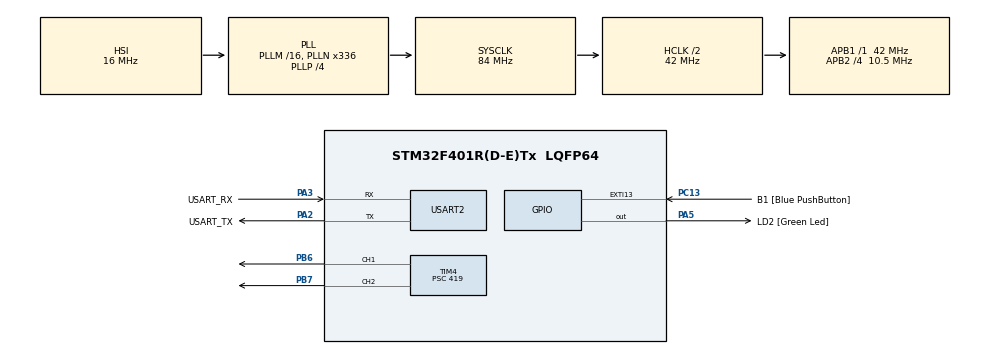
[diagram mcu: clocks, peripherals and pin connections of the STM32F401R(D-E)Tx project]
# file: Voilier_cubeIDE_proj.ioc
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Mcu.Family=STM32F4
Mcu.Name=STM32F401R(D-E)Tx
Mcu.Package=LQFP64
NVIC.PriorityGroup=NVIC_PRIORITYGROUP_0
PA13.GPIO_Label=TMS
PA13.Mode=Serial_Wire
PA13.Signal=SYS_JTMS-SWDIO
PA14.GPIO_Label=TCK
PA14.Mode=Serial_Wire
PA14.Signal=SYS_JTCK-SWCLK
PA2.GPIO_Label=USART_TX
PA2.GPIO_Mode=GPIO_MODE_AF_PP
PA2.GPIO_PuPd=GPIO_NOPULL
PA2.GPIO_Speed=GPIO_SPEED_FREQ_LOW
PA2.Mode=Asynchronous
PA2.Signal=USART2_TX
PA3.GPIO_Label=USART_RX
PA3.GPIO_Mode=GPIO_MODE_AF_PP
PA3.GPIO_PuPd=GPIO_NOPULL
PA3.GPIO_Speed=GPIO_SPEED_FREQ_LOW
PA3.Mode=Asynchronous
PA3.Signal=USART2_RX
PA5.GPIO_Label=LD2 [Green Led]
PA5.GPIO_Mode=GPIO_MODE_OUTPUT_PP
PA5.GPIO_PuPd=GPIO_NOPULL
PA5.GPIO_Speed=GPIO_SPEED_FREQ_LOW
PA5.Signal=GPIO_Output
PB3.GPIO_Label=SWO
PB3.Signal=SYS_JTDO-SWO
PB6.Signal=S_TIM4_CH1
PB7.Signal=S_TIM4_CH2
PC13-ANTI_TAMP.GPIO_Label=B1 [Blue PushButton]
PC13-ANTI_TAMP.GPIO_ModeDefaultEXTI=GPIO_MODE_IT_FALLING
PC13-ANTI_TAMP.GPIO_PuPd=GPIO_NOPULL
PC13-ANTI_TAMP.Signal=GPXTI13
PC14-OSC32_IN.Mode=LSE-External-Oscillator
PC14-OSC32_IN.Signal=RCC_OSC32_IN
PC15-OSC32_OUT.Mode=LSE-External-Oscillator
PC15-OSC32_OUT.Signal=RCC_OSC32_OUT
PH0\ -\ OSC_IN.Mode=HSE-External-Clock-Source
PH0\ -\ OSC_IN.Signal=RCC_OSC_IN
PH1\ -\ OSC_OUT.Mode=HSE-External-Clock-Source
PH1\ -\ OSC_OUT.Signal=RCC_OSC_OUT
ProjectManager.HeapSize=0x200
ProjectManager.StackSize=0x400
ProjectManager.TargetToolchain=STM32CubeIDE
RCC.48MHZClocksFreq_Value=48000000
RCC.AHBCLKDivider=RCC_SYSCLK_DIV2
RCC.AHBFreq_Value=42000000
RCC.APB1Freq_Value=42000000
RCC.APB1TimFreq_Value=42000000
RCC.APB2CLKDivider=RCC_HCLK_DIV4
RCC.APB2Freq_Value=10500000
RCC.APB2TimFreq_Value=21000000
RCC.CortexFreq_Value=42000000
RCC.HCLKFreq_Value=42000000
RCC.HSE_VALUE=8000000
RCC.HSI_VALUE=16000000
RCC.PLLN=336
RCC.PLLP=RCC_PLLP_DIV4
RCC.PLLQ=7
RCC.SYSCLKFreq_VALUE=84000000
RCC.SYSCLKSource=RCC_SYSCLKSOURCE_PLLCLK
RCC.VCOOutputFreq_Value=336000000
SH.S_TIM4_CH1.0=TIM4_CH1,PWM Generation1 CH1
SH.S_TIM4_CH2.0=TIM4_CH2,PWM Generation2 CH2
TIM4.Channel-PWM\ Generation1\ CH1=TIM_CHANNEL_1
TIM4.Channel-PWM\ Generation2\ CH2=TIM_CHANNEL_2
TIM4.Period=1000
TIM4.Prescaler=419
TIM4.Pulse-PWM\ Generation1\ CH1=500
TIM4.Pulse-PWM\ Generation2\ CH2=500
USART2.VirtualMode=VM_ASYNC
board=NUCLEO-F401RE

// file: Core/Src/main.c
/* USER CODE BEGIN Header */
/**
  ******************************************************************************
  * @file           : main.c
  * @brief          : Main program body
  ******************************************************************************
  * @attention
  *
  * Copyright (c) 2023 STMicroelectronics.
  * All rights reserved.
  *
  * This software is licensed under terms that can be found in the LICENSE file
  * in the root directory of this software component.
  * If no LICENSE file comes with this software, it is provided AS-IS.
  *
  ******************************************************************************
  */
/* USER CODE END Header */
#include "main.h"
#include "tim.h"
#include "usart.h"
#include "gpio.h"

/* USER CODE BEGIN Includes */
#include "actionneurs.hpp"
/* USER CODE END Includes */

void SystemClock_Config(void);

int main(void)
{

  /* MCU Configuration--------------------------------------------------------*/

  /* Reset of all peripherals, Initializes the Flash interface and the Systick. */
  HAL_Init();

  /* Configure the system clock */
  SystemClock_Config();

  /* Initialize all configured peripherals */
  MX_GPIO_Init();
  MX_USART2_UART_Init();
  MX_TIM4_Init();

  /* Infinite loop */
  /* USER CODE BEGIN WHILE */
  static int i = 0;
  while (1)
  {
	  HAL_Delay(1000);
	  HAL_GPIO_TogglePin(LD2_GPIO_Port, LD2_Pin);
	  if (i == 0){
		  setSafranAngle(0);
		  i = 1;
	  }
	  else if (i == 1) {
		  setSafranAngle(-45);
		  i = 2;
	  }
	  else if (i == 2) {
		  setSafranAngle(0);
		  i = 3;
	  }
	  else if (i == 3) {
		  setSafranAngle(-45);
		  i = 4;
	  }
	  else if (i == 4) {
		  setSafranAngle(0);
		  i = 5;
	  }
	  else if (i == 5) {
		  setSafranAngle(45);
		  i = 6;
	  }
    /* USER CODE END WHILE */

  }
}

void SystemClock_Config(void)
{
  RCC_OscInitTypeDef RCC_OscInitStruct = {0};
  RCC_ClkInitTypeDef RCC_ClkInitStruct = {0};

  /** Configure the main internal regulator output voltage
  */
  __HAL_RCC_PWR_CLK_ENABLE();
  __HAL_PWR_VOLTAGESCALING_CONFIG(PWR_REGULATOR_VOLTAGE_SCALE2);

  /** Initializes the RCC Oscillators according to the specified parameters
  * in the RCC_OscInitTypeDef structure.
  */
  RCC_OscInitStruct.OscillatorType = RCC_OSCILLATORTYPE_HSI;
  RCC_OscInitStruct.HSIState = RCC_HSI_ON;
  RCC_OscInitStruct.HSICalibrationValue = RCC_HSICALIBRATION_DEFAULT;
  RCC_OscInitStruct.PLL.PLLState = RCC_PLL_ON;
  RCC_OscInitStruct.PLL.PLLSource = RCC_PLLSOURCE_HSI;
  RCC_OscInitStruct.PLL.PLLM = 16;
  RCC_OscInitStruct.PLL.PLLN = 336;
  RCC_OscInitStruct.PLL.PLLP = RCC_PLLP_DIV4;
  RCC_OscInitStruct.PLL.PLLQ = 7;
  if (HAL_RCC_OscConfig(&RCC_OscInitStruct) != HAL_OK)
  {
    Error_Handler();
  }

  /** Initializes the CPU, AHB and APB buses clocks
  */
  RCC_ClkInitStruct.ClockType = RCC_CLOCKTYPE_HCLK|RCC_CLOCKTYPE_SYSCLK
                              |RCC_CLOCKTYPE_PCLK1|RCC_CLOCKTYPE_PCLK2;
  RCC_ClkInitStruct.SYSCLKSource = RCC_SYSCLKSOURCE_PLLCLK;
  RCC_ClkInitStruct.AHBCLKDivider = RCC_SYSCLK_DIV2;
  RCC_ClkInitStruct.APB1CLKDivider = RCC_HCLK_DIV1;
  RCC_ClkInitStruct.APB2CLKDivider = RCC_HCLK_DIV4;

  if (HAL_RCC_ClockConfig(&RCC_ClkInitStruct, FLASH_LATENCY_1) != HAL_OK)
  {
    Error_Handler();
  }
}

void Error_Handler(void)
{
  __disable_irq();
  while (1)
  {
  }
}
